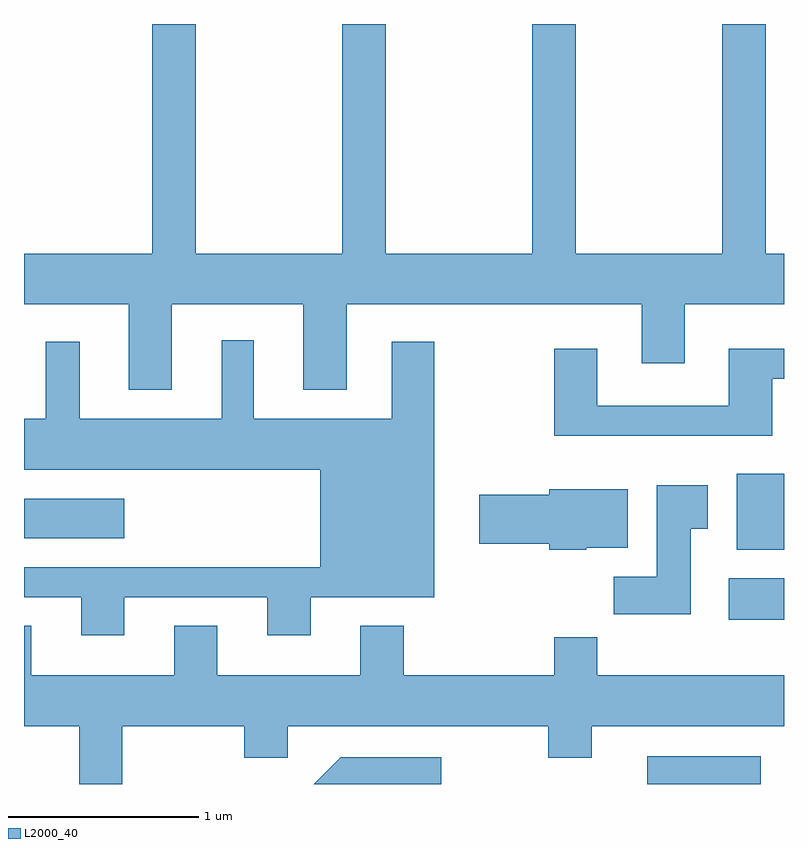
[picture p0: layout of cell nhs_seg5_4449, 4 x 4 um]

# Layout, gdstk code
import gdstk
lib = gdstk.Library(unit=1e-6, precision=1e-09)
def R(c, l, rs):  # rectangles x0, y0, x1, y1
    for r in rs: c.add(gdstk.rectangle(r[:2], r[2:], *l))
def P(c, l, *ps):  # polygons
    for p in ps: c.add(gdstk.Polygon(p, *l))
L2000_40 = (2000, 40)

nhs_seg5_4449 = lib.new_cell('nhs_seg5_4449')
R(nhs_seg5_4449, L2000_40, [(320.891,1432.072,321.488,1432.219), (321.321,1432.936,321.611,1433.154), (321.361,1433.306,321.611,1433.704), (317.611,1433.366,318.139,1433.574)])
P(nhs_seg5_4449, L2000_40, [(318.389,1434.596),(319.081,1434.596),(319.081,1434.146),(319.309,1434.146),(319.309,1434.596),(320.861,1434.596),(320.861,1434.286),(321.089,1434.286),(321.089,1434.596),(321.611,1434.596),(321.611,1434.864),(321.514,1434.864),(321.514,1436.072),(321.286,1436.072),(321.286,1434.864),(320.514,1434.864),(320.514,1436.072),(320.286,1436.072),(320.286,1434.864),(319.514,1434.864),(319.514,1436.072),(319.286,1436.072),(319.286,1434.864),(318.514,1434.864),(318.514,1436.072),(318.286,1436.072),(318.286,1434.864),(317.611,1434.864),(317.611,1434.596),(318.161,1434.596),(318.161,1434.146),(318.389,1434.146)],
  [(318.139,1433.056),(318.891,1433.056),(318.891,1432.856),(319.119,1432.856),(319.119,1433.056),(319.769,1433.056),(319.769,1434.399),(319.546,1434.399),(319.546,1433.994),(318.819,1433.994),(318.819,1434.408),(318.651,1434.408),(318.651,1433.994),(317.904,1433.994),(317.904,1434.399),(317.726,1434.399),(317.726,1433.994),(317.611,1433.994),(317.611,1433.726),(319.171,1433.726),(319.171,1433.214),(317.611,1433.214),(317.611,1433.056),(317.911,1433.056),(317.911,1432.856),(318.139,1432.856)],
  [(321.549,1434.206),(321.611,1434.206),(321.611,1434.364),(321.321,1434.364),(321.321,1434.064),(320.629,1434.064),(320.629,1434.364),(320.401,1434.364),(320.401,1433.906),(321.549,1433.906)],
  [(321.119,1433.416),(321.209,1433.416),(321.209,1433.644),(320.941,1433.644),(320.941,1433.164),(320.716,1433.164),(320.716,1432.966),(321.119,1432.966)],
  [(320.57,1433.316),(320.789,1433.316),(320.789,1433.624),(320.376,1433.624),(320.376,1433.594),(320.006,1433.594),(320.006,1433.336),(320.376,1433.336),(320.376,1433.306),(320.57,1433.306)],
  [(318.129,1432.376),(318.771,1432.376),(318.771,1432.211),(318.999,1432.211),(318.999,1432.376),(320.371,1432.376),(320.371,1432.211),(320.599,1432.211),(320.599,1432.376),(321.611,1432.376),(321.611,1432.644),(320.629,1432.644),(320.629,1432.844),(320.401,1432.844),(320.401,1432.644),(319.609,1432.644),(319.609,1432.904),(319.381,1432.904),(319.381,1432.644),(318.629,1432.644),(318.629,1432.904),(318.401,1432.904),(318.401,1432.644),(317.649,1432.644),(317.649,1432.904),(317.611,1432.904),(317.611,1432.376),(317.901,1432.376),(317.901,1432.072),(318.129,1432.072)],
  [(319.808,1432.214),(319.279,1432.214),(319.136,1432.072),(319.808,1432.072)])

lib.write_gds('nhs_seg5_4449.gds')
